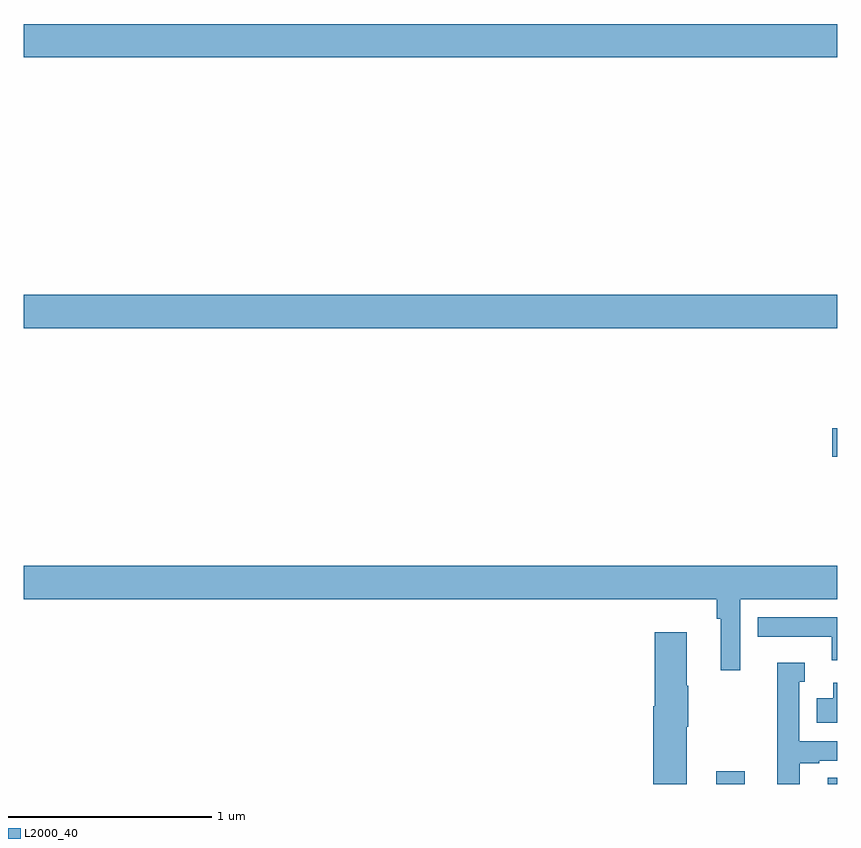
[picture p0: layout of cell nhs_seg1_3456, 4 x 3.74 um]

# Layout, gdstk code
import gdstk
lib = gdstk.Library(unit=1e-6, precision=1e-09)
def R(c, l, rs):  # rectangles x0, y0, x1, y1
    for r in rs: c.add(gdstk.rectangle(r[:2], r[2:], *l))
def P(c, l, *ps):  # polygons
    for p in ps: c.add(gdstk.Polygon(p, *l))
L2000_40 = (2000, 40)

nhs_seg1_3456 = lib.new_cell('nhs_seg1_3456')
R(nhs_seg1_3456, L2000_40, [(302.405,508.199,302.545,508.261), (302.954,508.199,303,508.229), (302.976,509.807,303,509.949), (299,510.44,303,510.604), (299,511.772,303,511.936)])
P(nhs_seg1_3456, L2000_40, [(302.523,509.108),(303,509.108),(303,509.272),(299,509.272),(299,509.108),(302.407,509.108),(302.407,509.012),(302.426,509.012),(302.426,508.758),(302.523,508.758)],
  [(303,509.019),(302.608,509.019),(302.608,508.923),(302.972,508.923),(302.972,508.808),(303,508.808)],
  [(302.26,508.481),(302.268,508.481),(302.268,508.681),(302.26,508.681),(302.26,508.945),(302.102,508.945),(302.102,508.581),(302.096,508.581),(302.096,508.199),(302.26,508.199)],
  [(302.815,508.302),(302.911,508.302),(302.911,508.314),(303,508.314),(303,508.41),(302.814,508.41),(302.814,508.701),(302.839,508.701),(302.839,508.795),(302.706,508.795),(302.706,508.363),(302.705,508.363),(302.705,508.199),(302.815,508.199)],
  [(303,508.696),(302.981,508.696),(302.981,508.621),(302.899,508.621),(302.899,508.499),(303,508.499)])

lib.write_gds('nhs_seg1_3456.gds')
